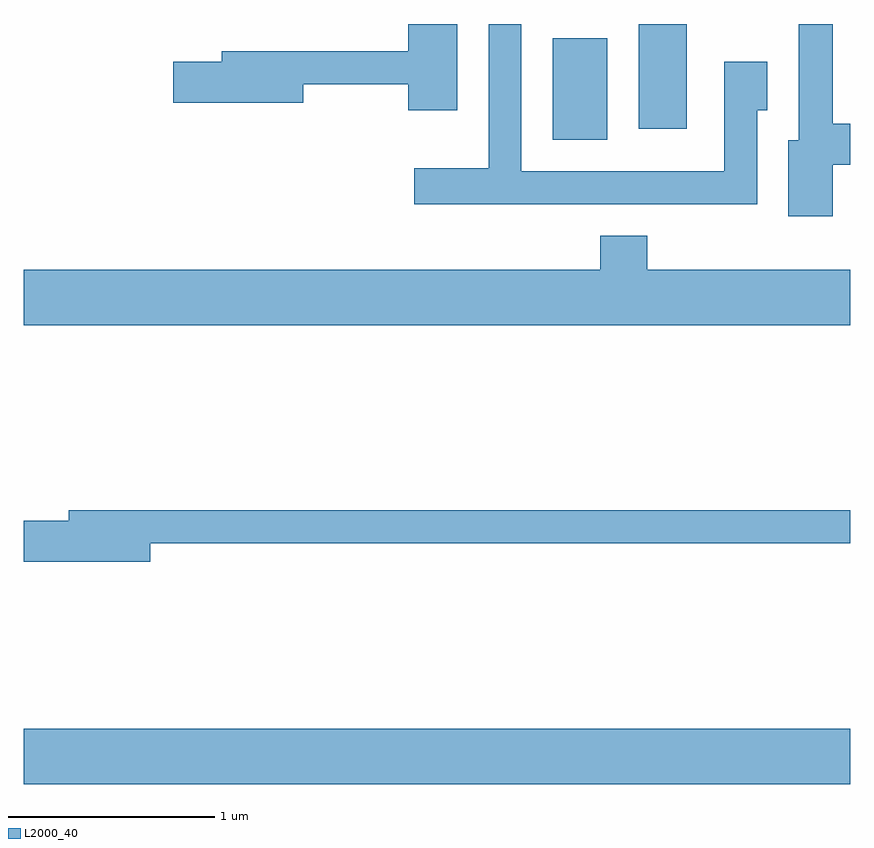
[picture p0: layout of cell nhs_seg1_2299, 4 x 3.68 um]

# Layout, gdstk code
import gdstk
lib = gdstk.Library(unit=1e-6, precision=1e-09)
def R(c, l, rs):  # rectangles x0, y0, x1, y1
    for r in rs: c.add(gdstk.rectangle(r[:2], r[2:], *l))
def P(c, l, *ps):  # polygons
    for p in ps: c.add(gdstk.Polygon(p, *l))
L2000_40 = (2000, 40)

nhs_seg1_2299 = lib.new_cell('nhs_seg1_2299')
R(nhs_seg1_2299, L2000_40, [(255.611,884.036,259.611,884.304), (258.171,887.151,258.434,887.644), (258.586,887.206,258.819,887.712)])
P(nhs_seg1_2299, L2000_40, [(257.709,887.712),(257.471,887.712),(257.471,887.579),(256.571,887.579),(256.571,887.529),(256.336,887.529),(256.336,887.331),(256.964,887.331),(256.964,887.421),(257.471,887.421),(257.471,887.296),(257.709,887.296)],
  [(259.159,887.296),(259.209,887.296),(259.209,887.529),(259.001,887.529),(259.001,886.999),(258.019,886.999),(258.019,887.712),(257.861,887.712),(257.861,887.014),(257.501,887.014),(257.501,886.841),(259.159,886.841)],
  [(259.524,887.031),(259.611,887.031),(259.611,887.229),(259.524,887.229),(259.524,887.712),(259.361,887.712),(259.361,887.149),(259.311,887.149),(259.311,886.781),(259.524,886.781)],
  [(259.611,886.524),(258.629,886.524),(258.629,886.689),(258.401,886.689),(258.401,886.524),(255.611,886.524),(255.611,886.256),(259.611,886.256)],
  [(256.224,885.201),(259.611,885.201),(259.611,885.359),(255.831,885.359),(255.831,885.309),(255.611,885.309),(255.611,885.111),(256.224,885.111)])

lib.write_gds('nhs_seg1_2299.gds')
